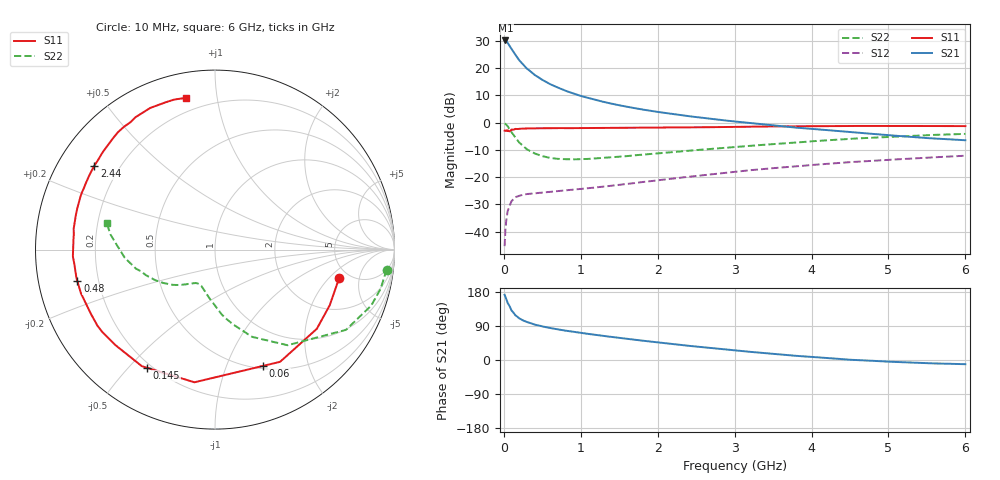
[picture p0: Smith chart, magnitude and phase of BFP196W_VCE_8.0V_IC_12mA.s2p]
! Infineon Technologies  Discrete & RF Semiconductors
! BFP196W
! VCE = 8.0 V,  IC =  12mA
! Common Emitter S-Parameters:  Jan 2016
# GHz  S  MA  R  50
!  f  S11  S21  S12  S22
! GHz  MAG  ANG  MAG  ANG  MAG  ANG  MAG  ANG
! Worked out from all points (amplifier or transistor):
!   210 points, 10 MHz to 6 GHz, reference 50 ohm
!   highest |S21| = 30.1 dB at 20 MHz (marker M1)
!   |S21| within 3 dB of that: start of sweep to 97.69 MHz
!   unconditionally stable (mu >= 1): 1.149 GHz to 3.295 GHz
!   at 185 MHz: K = 0.23, MSG = 25.3 dB, |S12| = -27.0 dB
!   at 1.52 GHz: K = 1.12, MAG = 12.4 dB, |S12| = -22.8 dB
!   at 6 GHz: K = 0.94, MSG = 2.8 dB, |S12| = -12.2 dB
!   S11 on the Smith chart (normalised r, x): 10 MHz: 4.15, -2.63; 60 MHz: 0.53, -1.35; 145 MHz: 0.18, -0.56; 480 MHz: 0.12, -0.11; 2.44 GHz: 0.11, +0.31; 6 GHz: 0.13, +0.82
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0.01  0.7099 -12.8  32.07 172.0  0.0054 81.2  0.9625 -6.7
0.02  0.7105 -25.9  32.12 167.4  0.0105 78.2  0.9483 -13.3
0.03  0.7188 -37.9  31.33 161.6  0.0152 73.4  0.9247 -19.7
0.05  0.7228 -59.9  29.08 150.4  0.0238 63.2  0.8559 -31.5
0.06  0.701 -67.6  27.54 147.2  0.026 58.5  0.8108 -34.9
0.1  0.7481 -98.8  22.51 130.6  0.0362 46.2  0.6689 -52.8
0.145  0.7594 -119.9  17.96 119.5  0.0421 37.5  0.541 -65.2
0.15  0.7668 -122.1  17.51 117.9  0.0428 36.7  0.5287 -66.9
0.2  0.7688 -136.2  13.93 109.9  0.0453 31.9  0.4316 -76.1
0.26  0.7804 -147.0  11.22 103.5  0.0479 28.4  0.3621 -84.2
0.3  0.7785 -152.4  9.772 100.0  0.0488 27.4  0.3231 -88.4
0.4  0.7855 -161.9  7.492 93.4  0.0503 25.8  0.2719 -96.7
0.48  0.7868 -167.1  6.353 89.6  0.0517 26.4  0.2477 -101.5
0.7  0.7927 -177.3  4.395 80.8  0.0551 29.0  0.216 -110.8
1.02  0.7918 173.5  3.028 71.2  0.0608 34.1  0.2134 -118.9
1.4  0.7998 164.9  2.223 60.8  0.0694 39.7  0.231 -125.0
2.02  0.8094 152.7  1.555 46.1  0.088 45.9  0.2733 -134.0
2.44  0.8187 145.2  1.292 36.7  0.1028 47.6  0.3073 -140.5
3.1  0.8367 134.3  1.015 23.6  0.1294 47.3  0.3656 -151.5
4.1  0.861 119.7  0.748 6.7  0.1708 43.0  0.4631 -168.3
5.1  0.8655 108.6  0.573 -5.2  0.211 36.3  0.5544 176.3
6  0.8609 100.9  0.474 -11.1  0.2466 30.1  0.62 166.4
